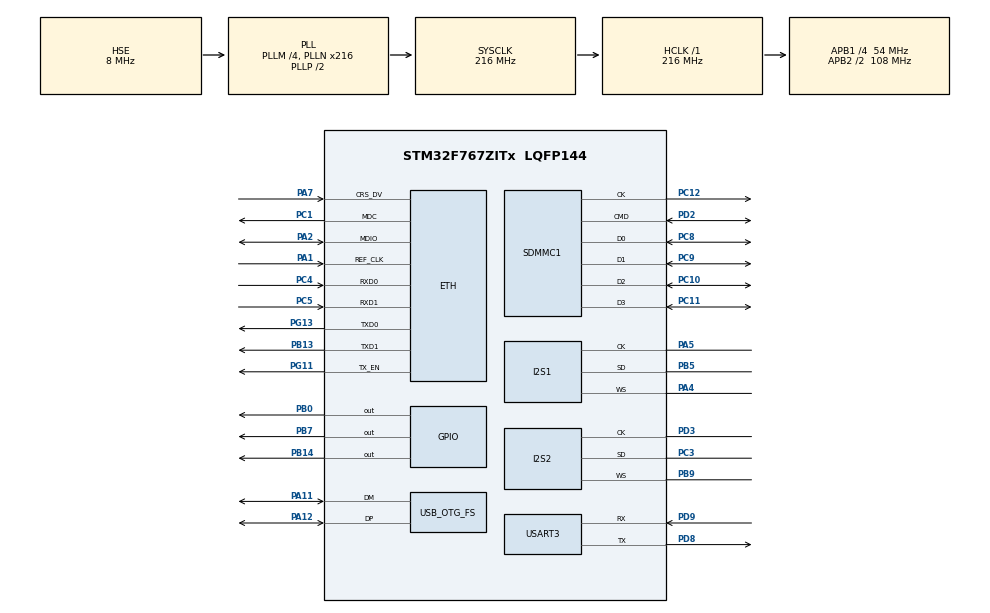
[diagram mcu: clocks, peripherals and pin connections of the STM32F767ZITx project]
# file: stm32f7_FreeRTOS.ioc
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CORTEX_M7.ART_ACCLERATOR_ENABLE=1
CORTEX_M7.AccessPermission-Cortex_Memory_Protection_Unit_Region0_Settings=MPU_REGION_FULL_ACCESS
CORTEX_M7.AccessPermission-Cortex_Memory_Protection_Unit_Region1_Settings=MPU_REGION_PRIV_RO_URO
CORTEX_M7.AccessPermission-Cortex_Memory_Protection_Unit_Region2_Settings=MPU_REGION_PRIV_RW
CORTEX_M7.AccessPermission-Cortex_Memory_Protection_Unit_Region4_Settings=MPU_REGION_PRIV_RW
CORTEX_M7.BaseAddress-Cortex_Memory_Protection_Unit_Region0_Settings=0x20000000
CORTEX_M7.BaseAddress-Cortex_Memory_Protection_Unit_Region2_Settings=0x40000000
CORTEX_M7.BaseAddress-Cortex_Memory_Protection_Unit_Region4_Settings=0x60000000
CORTEX_M7.CPU_DCache=Enabled
CORTEX_M7.CPU_ICache=Enabled
CORTEX_M7.DisableExec-Cortex_Memory_Protection_Unit_Region0_Settings=MPU_INSTRUCTION_ACCESS_DISABLE
CORTEX_M7.DisableExec-Cortex_Memory_Protection_Unit_Region2_Settings=MPU_INSTRUCTION_ACCESS_DISABLE
CORTEX_M7.DisableExec-Cortex_Memory_Protection_Unit_Region4_Settings=MPU_INSTRUCTION_ACCESS_DISABLE
CORTEX_M7.Enable-Cortex_Memory_Protection_Unit_Region0_Settings=MPU_REGION_ENABLE
CORTEX_M7.Enable-Cortex_Memory_Protection_Unit_Region1_Settings=MPU_REGION_ENABLE
CORTEX_M7.Enable-Cortex_Memory_Protection_Unit_Region2_Settings=MPU_REGION_ENABLE
CORTEX_M7.Enable-Cortex_Memory_Protection_Unit_Region4_Settings=MPU_REGION_ENABLE
CORTEX_M7.IsBufferable-Cortex_Memory_Protection_Unit_Region0_Settings=MPU_ACCESS_BUFFERABLE
CORTEX_M7.IsCacheable-Cortex_Memory_Protection_Unit_Region0_Settings=MPU_ACCESS_CACHEABLE
CORTEX_M7.IsCacheable-Cortex_Memory_Protection_Unit_Region1_Settings=MPU_ACCESS_CACHEABLE
CORTEX_M7.IsShareable-Cortex_Memory_Protection_Unit_Region0_Settings=MPU_ACCESS_SHAREABLE
CORTEX_M7.IsShareable-Cortex_Memory_Protection_Unit_Region1_Settings=MPU_ACCESS_SHAREABLE
CORTEX_M7.MPU_Control=MPU_PRIVILEGED_DEFAULT
CORTEX_M7.PREFETCH_ENABLE=1
CORTEX_M7.Size-Cortex_Memory_Protection_Unit_Region0_Settings=MPU_REGION_SIZE_512KB
CORTEX_M7.Size-Cortex_Memory_Protection_Unit_Region1_Settings=MPU_REGION_SIZE_512KB
CORTEX_M7.Size-Cortex_Memory_Protection_Unit_Region2_Settings=MPU_REGION_SIZE_512MB
CORTEX_M7.Size-Cortex_Memory_Protection_Unit_Region4_Settings=MPU_REGION_SIZE_2GB
CORTEX_M7.TypeExtField-Cortex_Memory_Protection_Unit_Region0_Settings=MPU_TEX_LEVEL2
ETH.MediaInterface=ETH_MEDIA_INTERFACE_RMII
ETH.PHY_Name_RMII=LAN8742A_PHY_ADDRESS
ETH.PhyAddress=0
ETH.RxMode=ETH_RXINTERRUPT_MODE
FATFS._FS_EXFAT=1
FATFS._FS_REENTRANT=1
FATFS._FS_RPATH=1
FATFS._LFN_UNICODE=1
FREERTOS.HEAP_NUMBER=3
FREERTOS.INCLUDE_xEventGroupSetBitFromISR=1
FREERTOS.INCLUDE_xTimerPendFunctionCall=1
FREERTOS.Tasks01=defaultTask,0,1024,StartDefaultTask,Default,NULL,Dynamic,NULL,NULL
FREERTOS.configMINIMAL_STACK_SIZE=1024
FREERTOS.configTOTAL_HEAP_SIZE=65536
FREERTOS.configUSE_IDLE_HOOK=1
FREERTOS.configUSE_TICK_HOOK=1
FREERTOS.configUSE_TIMERS=1
I2S1.AudioFreq=I2S_AUDIOFREQ_48K
I2S1.DataFormat=I2S_DATAFORMAT_24B
I2S1.ErrorAudioFreq=0.8 %
I2S1.FullDuplexMode=I2S_FULLDUPLEXMODE_DISABLE
I2S1.Instance=SPI$Index
I2S1.RealAudioFreq=48.387 KHz
I2S1.VirtualMode=I2S_MODE_SLAVE
I2S2.AudioFreq=I2S_AUDIOFREQ_48K
I2S2.ErrorAudioFreq=-0.79 %
I2S2.FullDuplexMode=I2S_FULLDUPLEXMODE_DISABLE
I2S2.Instance=SPI$Index
I2S2.RealAudioFreq=47.619 KHz
I2S2.VirtualMode=I2S_MODE_SLAVE
LWIP.DEFAULT_THREAD_STACKSIZE=4096
LWIP.IP_ADDRESS=192.168.100.010
LWIP.LWIP_DHCP=0
LWIP.NETMASK_ADDRESS=255.255.255.000
LWIP.NO_SYS=0
LWIP.Version=v2.0.3_Cube
Mcu.Family=STM32F7
Mcu.Name=STM32F767ZITx
Mcu.Package=LQFP144
NVIC.ETH_IRQn=true\:5\:0\:false\:false\:true\:true\:false
NVIC.OTG_FS_IRQn=true\:5\:0\:false\:false\:true\:true\:false
NVIC.PriorityGroup=NVIC_PRIORITYGROUP_4
NVIC.TIM1_UP_TIM10_IRQn=true\:0\:0\:false\:false\:true\:false\:false
NVIC.TimeBase=TIM1_UP_TIM10_IRQn
NVIC.TimeBaseIP=TIM1
NVIC.USART3_IRQn=true\:5\:0\:false\:false\:true\:true\:true
PA1.Mode=RMII
PA1.Signal=ETH_REF_CLK
PA11.Mode=Device_Only
PA11.Signal=USB_OTG_FS_DM
PA12.Mode=Device_Only
PA12.Signal=USB_OTG_FS_DP
PA13.Mode=Serial_Wire
PA13.Signal=SYS_JTMS-SWDIO
PA14.Mode=Serial_Wire
PA14.Signal=SYS_JTCK-SWCLK
PA2.Mode=RMII
PA2.Signal=ETH_MDIO
PA4.Mode=Half_Duplex_Slave
PA4.Signal=I2S1_WS
PA5.Mode=Half_Duplex_Slave
PA5.Signal=I2S1_CK
PA7.Mode=RMII
PA7.Signal=ETH_CRS_DV
PB0.Signal=GPIO_Output
PB13.Mode=RMII
PB13.Signal=ETH_TXD1
PB14.Signal=GPIO_Output
PB5.Mode=Half_Duplex_Slave
PB5.Signal=I2S1_SD
PB7.Signal=GPIO_Output
PB9.Mode=Half_Duplex_Slave
PB9.Signal=I2S2_WS
PC1.Mode=RMII
PC1.Signal=ETH_MDC
PC10.Mode=SD_4_bits_Wide_bus
PC10.Signal=SDMMC1_D2
PC11.Mode=SD_4_bits_Wide_bus
PC11.Signal=SDMMC1_D3
PC12.Mode=SD_4_bits_Wide_bus
PC12.Signal=SDMMC1_CK
PC3.Mode=Half_Duplex_Slave
PC3.Signal=I2S2_SD
PC4.Mode=RMII
PC4.Signal=ETH_RXD0
PC5.Mode=RMII
PC5.Signal=ETH_RXD1
PC8.Mode=SD_4_bits_Wide_bus
PC8.Signal=SDMMC1_D0
PC9.Mode=SD_4_bits_Wide_bus
PC9.Signal=SDMMC1_D1
PD2.Mode=SD_4_bits_Wide_bus
PD2.Signal=SDMMC1_CMD
PD3.Mode=Half_Duplex_Slave
PD3.Signal=I2S2_CK
PD8.Mode=Asynchronous
PD8.Signal=USART3_TX
PD9.Mode=Asynchronous
PD9.Signal=USART3_RX
PG11.Mode=RMII
PG11.Signal=ETH_TX_EN
PG13.Mode=RMII
PG13.Signal=ETH_TXD0
PH0/OSC_IN.Mode=HSE-External-Oscillator
PH0/OSC_IN.Signal=RCC_OSC_IN
PH1/OSC_OUT.Mode=HSE-External-Oscillator
PH1/OSC_OUT.Signal=RCC_OSC_OUT
ProjectManager.HeapSize=0x200
ProjectManager.StackSize=0x400
ProjectManager.TargetToolchain=TrueSTUDIO
RCC.AHBFreq_Value=216000000
RCC.APB1CLKDivider=RCC_HCLK_DIV4
RCC.APB1Freq_Value=54000000
RCC.APB1TimFreq_Value=108000000
RCC.APB2CLKDivider=RCC_HCLK_DIV2
RCC.APB2Freq_Value=108000000
RCC.APB2TimFreq_Value=216000000
RCC.CortexFreq_Value=216000000
RCC.HCLKFreq_Value=216000000
RCC.HSE_VALUE=8000000
RCC.HSI_VALUE=16000000
RCC.LSE_VALUE=32768
RCC.PLL48CLockSelection=RCC_CLK48SOURCE_PLLSAIP
RCC.PLLI2SR=4
RCC.PLLM=4
RCC.PLLN=216
RCC.PLLQ=8
RCC.PLLSAIP=RCC_PLLSAIP_DIV8
RCC.SDMMCClockSelection=RCC_SDMMC1CLKSOURCE_CLK48
RCC.SYSCLKFreq_VALUE=216000000
RCC.SYSCLKSource=RCC_SYSCLKSOURCE_PLLCLK
RCC.USBFreq_Value=48000000
RCC.VCOOutputFreq_Value=432000000
USART3.VirtualMode-Asynchronous=VM_ASYNC
USART3.WordLength=WORDLENGTH_8B
USB_DEVICE.CLASS_NAME_FS=DFU
USB_DEVICE.USBD_SUPPORT_USER_STRING-DFU_FS=1
USB_DEVICE.VirtualMode-DFU_FS=Dfu
USB_DEVICE.VirtualModeFS=Dfu_FS
USB_OTG_FS.VirtualMode=Device_Only
USB_OTG_FS.ep0_mps=DEP0CTL_MPS_64
USB_OTG_FS.vbus_sensing_enable=DISABLE
VP_CRC_VS_CRC.Mode=CRC_Activate
VP_FATFS_VS_Generic.Mode=User_defined
VP_FATFS_VS_SDIO.Mode=SDIO
VP_FREERTOS_VS_ENABLE.Mode=Enabled
VP_LWIP_VS_Enabled.Mode=Enabled
VP_RTC_VS_RTC_Activate.Mode=RTC_Enabled
VP_SYS_VS_tim1.Mode=TIM1
VP_USB_DEVICE_VS_USB_DEVICE_DFU_FS.Mode=DFU_FS
board=stm32f7_FreeRTOS

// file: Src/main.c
/**
  ******************************************************************************
  * @file           : main.c
  * @brief          : Main program body
  ******************************************************************************
  * This notice applies to any and all portions of this file
  * that are not between comment pairs USER CODE BEGIN and
  * USER CODE END. Other portions of this file, whether
  * inserted by the user or by software development tools
  * are owned by their respective copyright owners.
  *
  * Copyright (c) 2018 STMicroelectronics International N.V.
  * All rights reserved.
  *
  * Redistribution and use in source and binary forms, with or without
  * modification, are permitted, provided that the following conditions are met:
  *
  * 1. Redistribution of source code must retain the above copyright notice,
  *    this list of conditions and the following disclaimer.
  * 2. Redistributions in binary form must reproduce the above copyright notice,
  *    this list of conditions and the following disclaimer in the documentation
  *    and/or other materials provided with the distribution.
  * 3. Neither the name of STMicroelectronics nor the names of other
  *    contributors to this software may be used to endorse or promote products
  *    derived from this software without specific written permission.
  * 4. This software, including modifications and/or derivative works of this
  *    software, must execute solely and exclusively on microcontroller or
  *    microprocessor devices manufactured by or for STMicroelectronics.
  * 5. Redistribution and use of this software other than as permitted under
  *    this license is void and will automatically terminate your rights under
  *    this license.
  *
  * THIS SOFTWARE IS PROVIDED BY STMICROELECTRONICS AND CONTRIBUTORS "AS IS"
  * AND ANY EXPRESS, IMPLIED OR STATUTORY WARRANTIES, INCLUDING, BUT NOT
  * LIMITED TO, THE IMPLIED WARRANTIES OF MERCHANTABILITY, FITNESS FOR A
  * PARTICULAR PURPOSE AND NON-INFRINGEMENT OF THIRD PARTY INTELLECTUAL PROPERTY
  * RIGHTS ARE DISCLAIMED TO THE FULLEST EXTENT PERMITTED BY LAW. IN NO EVENT
  * SHALL STMICROELECTRONICS OR CONTRIBUTORS BE LIABLE FOR ANY DIRECT, INDIRECT,
  * INCIDENTAL, SPECIAL, EXEMPLARY, OR CONSEQUENTIAL DAMAGES (INCLUDING, BUT NOT
  * LIMITED TO, PROCUREMENT OF SUBSTITUTE GOODS OR SERVICES; LOSS OF USE, DATA,
  * OR PROFITS; OR BUSINESS INTERRUPTION) HOWEVER CAUSED AND ON ANY THEORY OF
  * LIABILITY, WHETHER IN CONTRACT, STRICT LIABILITY, OR TORT (INCLUDING
  * NEGLIGENCE OR OTHERWISE) ARISING IN ANY WAY OUT OF THE USE OF THIS SOFTWARE,
  * EVEN IF ADVISED OF THE POSSIBILITY OF SUCH DAMAGE.
  *
  ******************************************************************************
  */
#include "main.h"
#include "stm32f7xx_hal.h"
#include "cmsis_os.h"
#include "crc.h"
#include "fatfs.h"
#include "i2s.h"
#include "lwip.h"
#include "rtc.h"
#include "sdmmc.h"
#include "usart.h"
#include "usb_device.h"
#include "gpio.h"

/* USER CODE BEGIN PV */
/* Private variables ---------------------------------------------------------*/

/* USER CODE END PV */

void SystemClock_Config(void);
static void MPU_Config(void);
void MX_FREERTOS_Init(void);

/* USER CODE BEGIN PFP */
/* Private function prototypes -----------------------------------------------*/

/* USER CODE END PFP */

int main(void)
{

	/* MPU Configuration----------------------------------------------------------*/
	//MPU_Config();

	/* Enable I-Cache-------------------------------------------------------------*/
	SCB_EnableICache();

	/* Enable D-Cache-------------------------------------------------------------*/
	SCB_EnableDCache();

	/* MCU Configuration----------------------------------------------------------*/

	/* Reset of all peripherals, Initializes the Flash interface and the Systick. */
	HAL_Init();

	/* Configure the system clock */
	SystemClock_Config();

	/* USER CODE BEGIN SysInit */
	SystemCoreClockUpdate();
	/* USER CODE END SysInit */

	/* Initialize all configured peripherals */
	MX_GPIO_Init();
	MX_RTC_Init();
	MX_CRC_Init();
	MX_SDMMC1_SD_Init();
	MX_I2S1_Init();
	MX_I2S2_Init();
	MX_USART3_UART_Init();

	/* Call init function for freertos objects (in freertos.c) */
	MX_FREERTOS_Init();

	/* Start scheduler */
	osKernelStart();

	/* We should never get here as control is now taken by the scheduler */

	/* Infinite loop */
	while (1)
	{

	}
}

void SystemClock_Config(void)
{

	RCC_OscInitTypeDef RCC_OscInitStruct;
	RCC_ClkInitTypeDef RCC_ClkInitStruct;
	RCC_PeriphCLKInitTypeDef PeriphClkInitStruct;

	/**Configure the main internal regulator output voltage
    */
	__HAL_RCC_PWR_CLK_ENABLE();

	__HAL_PWR_VOLTAGESCALING_CONFIG(PWR_REGULATOR_VOLTAGE_SCALE1);

	/**Initializes the CPU, AHB and APB busses clocks
    */
	RCC_OscInitStruct.OscillatorType = RCC_OSCILLATORTYPE_LSI | RCC_OSCILLATORTYPE_HSE;
	RCC_OscInitStruct.HSEState = RCC_HSE_ON;
	RCC_OscInitStruct.LSIState = RCC_LSI_ON;
	RCC_OscInitStruct.PLL.PLLState = RCC_PLL_ON;
	RCC_OscInitStruct.PLL.PLLSource = RCC_PLLSOURCE_HSE;
	RCC_OscInitStruct.PLL.PLLM = 4;
	RCC_OscInitStruct.PLL.PLLN = 216;
	RCC_OscInitStruct.PLL.PLLP = RCC_PLLP_DIV2;
	RCC_OscInitStruct.PLL.PLLQ = 4;
	if (HAL_RCC_OscConfig(&RCC_OscInitStruct) != HAL_OK)
	{
		_Error_Handler(__FILE__, __LINE__);
	}

	/**Activate the Over-Drive mode
    */
	if (HAL_PWREx_EnableOverDrive() != HAL_OK)
	{
		_Error_Handler(__FILE__, __LINE__);
	}

	/**Initializes the CPU, AHB and APB busses clocks
    */
	RCC_ClkInitStruct.ClockType = RCC_CLOCKTYPE_HCLK | RCC_CLOCKTYPE_SYSCLK | RCC_CLOCKTYPE_PCLK1 | RCC_CLOCKTYPE_PCLK2;
	RCC_ClkInitStruct.SYSCLKSource = RCC_SYSCLKSOURCE_PLLCLK;
	RCC_ClkInitStruct.AHBCLKDivider = RCC_SYSCLK_DIV1;
	RCC_ClkInitStruct.APB1CLKDivider = RCC_HCLK_DIV4;
	RCC_ClkInitStruct.APB2CLKDivider = RCC_HCLK_DIV2;

	if (HAL_RCC_ClockConfig(&RCC_ClkInitStruct, FLASH_LATENCY_7) != HAL_OK)
	{
		_Error_Handler(__FILE__, __LINE__);
	}

	PeriphClkInitStruct.PeriphClockSelection = RCC_PERIPHCLK_TIM | RCC_PERIPHCLK_RTC | RCC_PERIPHCLK_USART3 | RCC_PERIPHCLK_SDMMC1 | RCC_PERIPHCLK_I2S | RCC_PERIPHCLK_CLK48;
	PeriphClkInitStruct.PLLI2S.PLLI2SN = 192;
	PeriphClkInitStruct.PLLI2S.PLLI2SP = RCC_PLLP_DIV2;
	PeriphClkInitStruct.PLLI2S.PLLI2SR = 2;
	PeriphClkInitStruct.PLLI2S.PLLI2SQ = 2;
	PeriphClkInitStruct.PLLSAI.PLLSAIN = 96;
	PeriphClkInitStruct.PLLSAI.PLLSAIR = 2;
	PeriphClkInitStruct.PLLSAI.PLLSAIQ = 3;
	PeriphClkInitStruct.PLLSAI.PLLSAIP = RCC_PLLSAIP_DIV4;
	PeriphClkInitStruct.PLLI2SDivQ = 1;
	PeriphClkInitStruct.PLLSAIDivQ = 1;
	PeriphClkInitStruct.PLLSAIDivR = RCC_PLLSAIDIVR_2;
	PeriphClkInitStruct.RTCClockSelection = RCC_RTCCLKSOURCE_LSI;
	PeriphClkInitStruct.I2sClockSelection = RCC_I2SCLKSOURCE_PLLI2S;
	PeriphClkInitStruct.Usart3ClockSelection = RCC_USART3CLKSOURCE_PCLK1;
	PeriphClkInitStruct.Clk48ClockSelection = RCC_CLK48SOURCE_PLLSAIP;
	PeriphClkInitStruct.Sdmmc1ClockSelection = RCC_SDMMC1CLKSOURCE_CLK48;
	PeriphClkInitStruct.TIMPresSelection = RCC_TIMPRES_ACTIVATED;

	if (HAL_RCCEx_PeriphCLKConfig(&PeriphClkInitStruct) != HAL_OK)
	{
		_Error_Handler(__FILE__, __LINE__);
	}

}

/* MPU Configuration */

void MPU_Config(void)
{
	MPU_Region_InitTypeDef MPU_InitStruct;

	/* Disables the MPU */
	HAL_MPU_Disable();

	/**Initializes and configures the Region and the memory to be protected
    */
	MPU_InitStruct.Enable = MPU_REGION_ENABLE;
	MPU_InitStruct.Number = MPU_REGION_NUMBER0;
	MPU_InitStruct.BaseAddress = 0x00000000;
	MPU_InitStruct.Size = MPU_REGION_SIZE_4GB;
	MPU_InitStruct.SubRegionDisable = 0x0;
	MPU_InitStruct.TypeExtField = MPU_TEX_LEVEL0;
	MPU_InitStruct.AccessPermission = MPU_REGION_FULL_ACCESS;
	MPU_InitStruct.DisableExec = MPU_INSTRUCTION_ACCESS_DISABLE;
	MPU_InitStruct.IsShareable = MPU_ACCESS_NOT_SHAREABLE;
	MPU_InitStruct.IsCacheable = MPU_ACCESS_NOT_CACHEABLE;
	MPU_InitStruct.IsBufferable = MPU_ACCESS_NOT_BUFFERABLE;

	HAL_MPU_ConfigRegion(&MPU_InitStruct);

#if 1
	/** SRAM REGION
    */
	MPU_InitStruct.Enable = MPU_REGION_ENABLE;
	MPU_InitStruct.Number = MPU_REGION_NUMBER1;
	MPU_InitStruct.BaseAddress = 0x20000000;
	MPU_InitStruct.Size = MPU_REGION_SIZE_512MB;
	MPU_InitStruct.SubRegionDisable = 0x0;
	MPU_InitStruct.TypeExtField = MPU_TEX_LEVEL0;
	MPU_InitStruct.AccessPermission = MPU_REGION_FULL_ACCESS;
	MPU_InitStruct.DisableExec = MPU_INSTRUCTION_ACCESS_DISABLE;
	MPU_InitStruct.IsShareable = MPU_ACCESS_SHAREABLE;
	MPU_InitStruct.IsCacheable = MPU_ACCESS_CACHEABLE;
	MPU_InitStruct.IsBufferable = MPU_ACCESS_BUFFERABLE;

	HAL_MPU_ConfigRegion(&MPU_InitStruct);

	/** ROM REGION
    */
	MPU_InitStruct.Enable = MPU_REGION_ENABLE;
	MPU_InitStruct.Number = MPU_REGION_NUMBER2;
	MPU_InitStruct.BaseAddress = 0x0;
	MPU_InitStruct.Size = MPU_REGION_SIZE_512MB;
	MPU_InitStruct.SubRegionDisable = 0x0;
	MPU_InitStruct.TypeExtField = MPU_TEX_LEVEL0;
	MPU_InitStruct.AccessPermission = MPU_REGION_PRIV_RO_URO;
	MPU_InitStruct.DisableExec = MPU_INSTRUCTION_ACCESS_ENABLE;
	MPU_InitStruct.IsShareable = MPU_ACCESS_SHAREABLE;
	MPU_InitStruct.IsCacheable = MPU_ACCESS_NOT_CACHEABLE;
	MPU_InitStruct.IsBufferable = MPU_ACCESS_NOT_BUFFERABLE;

	HAL_MPU_ConfigRegion(&MPU_InitStruct);

	/**
    */
	MPU_InitStruct.Enable = MPU_REGION_ENABLE;
	MPU_InitStruct.Number = MPU_REGION_NUMBER3;
	MPU_InitStruct.BaseAddress = 0x40000000;
	MPU_InitStruct.Size = MPU_REGION_SIZE_512MB;
	MPU_InitStruct.SubRegionDisable = 0x0;
	MPU_InitStruct.TypeExtField = MPU_TEX_LEVEL0;
	MPU_InitStruct.AccessPermission = MPU_REGION_PRIV_RW;
	MPU_InitStruct.DisableExec = MPU_INSTRUCTION_ACCESS_DISABLE;
	MPU_InitStruct.IsShareable = MPU_ACCESS_SHAREABLE;
	MPU_InitStruct.IsCacheable = MPU_ACCESS_CACHEABLE;
	MPU_InitStruct.IsBufferable = MPU_ACCESS_NOT_BUFFERABLE;

	HAL_MPU_ConfigRegion(&MPU_InitStruct);

	/**Initializes and configures the Region and the memory to be protected
    */
	MPU_InitStruct.Enable = MPU_REGION_ENABLE;
	MPU_InitStruct.Number = MPU_REGION_NUMBER4;
	MPU_InitStruct.BaseAddress = 0x60000000;
	MPU_InitStruct.Size = MPU_REGION_SIZE_512MB;
	MPU_InitStruct.SubRegionDisable = 0x0;
	MPU_InitStruct.TypeExtField = MPU_TEX_LEVEL0;
	MPU_InitStruct.AccessPermission = MPU_REGION_PRIV_RW;
	MPU_InitStruct.DisableExec = MPU_INSTRUCTION_ACCESS_DISABLE;
	MPU_InitStruct.IsShareable = MPU_ACCESS_SHAREABLE;
	MPU_InitStruct.IsCacheable = MPU_ACCESS_CACHEABLE;
	MPU_InitStruct.IsBufferable = MPU_ACCESS_NOT_BUFFERABLE;

	HAL_MPU_ConfigRegion(&MPU_InitStruct);

	// Cortex-M7
	MPU_InitStruct.Enable = MPU_REGION_ENABLE;
	MPU_InitStruct.Number = MPU_REGION_NUMBER5;
	MPU_InitStruct.BaseAddress = 0xE0000000;
	MPU_InitStruct.Size = MPU_REGION_SIZE_512MB;
	MPU_InitStruct.SubRegionDisable = 0x0;
	MPU_InitStruct.TypeExtField = MPU_TEX_LEVEL0;
	MPU_InitStruct.AccessPermission = MPU_REGION_PRIV_RW;
	MPU_InitStruct.DisableExec = MPU_INSTRUCTION_ACCESS_DISABLE;
	MPU_InitStruct.IsShareable = MPU_ACCESS_SHAREABLE;
	MPU_InitStruct.IsCacheable = MPU_ACCESS_CACHEABLE;
	MPU_InitStruct.IsBufferable = MPU_ACCESS_NOT_BUFFERABLE;

	HAL_MPU_ConfigRegion(&MPU_InitStruct);
#endif
	/* Enables the MPU */
	HAL_MPU_Enable(MPU_PRIVILEGED_DEFAULT);
}
void HAL_TIM_PeriodElapsedCallback(TIM_HandleTypeDef *htim)
{
	if (htim->Instance == TIM1)
	{
		HAL_IncTick();
	}
}

void _Error_Handler(char *file, int line)
{
	while (1)
	{
	}
}

/************************ (C) COPYRIGHT STMicroelectronics *****END OF FILE****/

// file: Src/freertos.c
/**
  ******************************************************************************
  * File Name          : freertos.c
  * Description        : Code for freertos applications
  ******************************************************************************
  * This notice applies to any and all portions of this file
  * that are not between comment pairs USER CODE BEGIN and
  * USER CODE END. Other portions of this file, whether
  * inserted by the user or by software development tools
  * are owned by their respective copyright owners.
  *
  * Copyright (c) 2018 STMicroelectronics International N.V.
  * All rights reserved.
  *
  * Redistribution and use in source and binary forms, with or without
  * modification, are permitted, provided that the following conditions are met:
  *
  * 1. Redistribution of source code must retain the above copyright notice,
  *    this list of conditions and the following disclaimer.
  * 2. Redistributions in binary form must reproduce the above copyright notice,
  *    this list of conditions and the following disclaimer in the documentation
  *    and/or other materials provided with the distribution.
  * 3. Neither the name of STMicroelectronics nor the names of other
  *    contributors to this software may be used to endorse or promote products
  *    derived from this software without specific written permission.
  * 4. This software, including modifications and/or derivative works of this
  *    software, must execute solely and exclusively on microcontroller or
  *    microprocessor devices manufactured by or for STMicroelectronics.
  * 5. Redistribution and use of this software other than as permitted under
  *    this license is void and will automatically terminate your rights under
  *    this license.
  *
  * THIS SOFTWARE IS PROVIDED BY STMICROELECTRONICS AND CONTRIBUTORS "AS IS"
  * AND ANY EXPRESS, IMPLIED OR STATUTORY WARRANTIES, INCLUDING, BUT NOT
  * LIMITED TO, THE IMPLIED WARRANTIES OF MERCHANTABILITY, FITNESS FOR A
  * PARTICULAR PURPOSE AND NON-INFRINGEMENT OF THIRD PARTY INTELLECTUAL PROPERTY
  * RIGHTS ARE DISCLAIMED TO THE FULLEST EXTENT PERMITTED BY LAW. IN NO EVENT
  * SHALL STMICROELECTRONICS OR CONTRIBUTORS BE LIABLE FOR ANY DIRECT, INDIRECT,
  * INCIDENTAL, SPECIAL, EXEMPLARY, OR CONSEQUENTIAL DAMAGES (INCLUDING, BUT NOT
  * LIMITED TO, PROCUREMENT OF SUBSTITUTE GOODS OR SERVICES; LOSS OF USE, DATA,
  * OR PROFITS; OR BUSINESS INTERRUPTION) HOWEVER CAUSED AND ON ANY THEORY OF
  * LIABILITY, WHETHER IN CONTRACT, STRICT LIABILITY, OR TORT (INCLUDING
  * NEGLIGENCE OR OTHERWISE) ARISING IN ANY WAY OUT OF THE USE OF THIS SOFTWARE,
  * EVEN IF ADVISED OF THE POSSIBILITY OF SUCH DAMAGE.
  *
  ******************************************************************************
  */

#include "FreeRTOS.h"
#include "task.h"
#include "cmsis_os.h"

/* USER CODE BEGIN Includes */
#include <stdio.h>
#include <stdlib.h>
#include <string.h>
#include "usart.h"
#include "TaskConsole.h"
#include "CPUFunc.h"
#include <stdint.h>
#include <stdbool.h>
#include "FreeRTOSConfig.h"
#include <stdatomic.h>
/* USER CODE END Includes */

osThreadId defaultTaskHandle;

/* USER CODE BEGIN Variables */
typedef enum
{
	enLED0,
	enLED1,
	enLED2,
	enLED_MAX,
} enLedNo_t;

GPIO_TypeDef *LEDPort = GPIOB;

const uint16_t u16LEDPin[enLED_MAX] = {
	GPIO_PIN_0,
	GPIO_PIN_7,
	GPIO_PIN_14,
};
const uint32_t u32LEDBlinkTime[enLED_MAX] = {
	250u,
	500u,
	1000u};
osThreadId LEDTaskHandle[enLED_MAX];
/* USER CODE END Variables */

void StartDefaultTask(void const *argument);

extern void MX_USB_DEVICE_Init(void);
extern void MX_FATFS_Init(void);
extern void MX_LWIP_Init(void);
void MX_FREERTOS_Init(void); /* (MISRA C 2004 rule 8.1) */

/* USER CODE BEGIN FunctionPrototypes */
void LEDTask(void const *argument);
/* USER CODE END FunctionPrototypes */

/* Hook prototypes */
void vApplicationIdleHook(void);
void vApplicationTickHook(void);
void GetRunCount(uint32_t *p32Last, uint32_t *pu32Max);

static uint32_t s_u32CurrentRun = 0u;
static uint32_t s_u32LastRun = 0u;
static uint32_t s_u32RunMax = 0u;

/* USER CODE BEGIN 2 */
extern _Atomic uint32_t g_u32Atomic;
extern uint32_t g_u32NoAtomic;
void vApplicationStackOverflowHook( TaskHandle_t xTask,
                                    signed char *pcTaskName ){
	bsp_printf("[%s (%d)] Stack Over Flow!!!\r\n", __FUNCTION__, __LINE__);
	while(1);
}

__weak void vApplicationIdleHook(void)
{
	/* vApplicationIdleHook() will only be called if configUSE_IDLE_HOOK is set
   to 1 in FreeRTOSConfig.h. It will be called on each iteration of the idle
   task. It is essential that code added to this hook function never attempts
   to block in any way (for example, call xQueueReceive() with a block time
   specified, or call vTaskDelay()). If the application makes use of the
   vTaskDelete() API function (as this demo application does) then it is also
   important that vApplicationIdleHook() is permitted to return to its calling
   function, because it is the responsibility of the idle task to clean up
   memory allocated by the kernel to any task that has since been deleted. */
	#if 1
	uint32_t primask = DisableIRQ();

	s_u32CurrentRun++;
	SetIRQ(primask);
	atomic_fetch_add(&g_u32Atomic, 1);
	g_u32NoAtomic++;
	#endif
}
/* USER CODE END 2 */

/* USER CODE BEGIN 3 */

_Bool g_bInitEnd = false;
__weak void vApplicationTickHook(void)
{
	/* This function will be called by each tick interrupt if
   configUSE_TICK_HOOK is set to 1 in FreeRTOSConfig.h. User code can be
   added here, but the tick hook is called from an interrupt context, so
   code must not attempt to block, and only the interrupt safe FreeRTOS API
   functions can be used (those that end in FromISR()). */
#if 1
	static uint32_t cnt = 0u;
	if(g_bInitEnd != false){
		atomic_fetch_add(&g_u32Atomic, 1);
		g_u32NoAtomic++;
		if (cnt >= 1000u)
		{
			cnt = 0u;
			uint32_t primask = DisableIRQ();

			s_u32LastRun = s_u32CurrentRun;
			s_u32CurrentRun = 0u;
			if (s_u32LastRun > s_u32RunMax)
			{
				s_u32RunMax = s_u32LastRun;
			}
			SetIRQ(primask);
		}else{
			cnt++;
		}
	}else{
		s_u32CurrentRun = 0u;
	}
#endif
}

void GetRunCount(uint32_t *p32Last, uint32_t *pu32Max)
{
	if ((p32Last != NULL) && (pu32Max != NULL))
	{
		uint32_t primask = DisableIRQ();
		*p32Last = s_u32LastRun;
		*pu32Max = s_u32RunMax;
		SetIRQ(primask);
	}
}

/* USER CODE END 3 */

/* Init FreeRTOS */

void MX_FREERTOS_Init(void)
{

	/* Create the thread(s) */
	/* definition and creation of defaultTask */
	osThreadDef(defaultTask, StartDefaultTask, osPriorityNormal, 0, 1024);
	defaultTaskHandle = osThreadCreate(osThread(defaultTask), NULL);

}

/* USER CODE BEGIN 4 */
typedef struct{
	osThreadId    *pOsId;
	osThreadDef_t OsDef;
	void          *argment;
}stOSdefTable_t;

StaticTask_t LEDTaskTCB[enLED_MAX];
uint32_t LEDTaskStack[enLED_MAX][1024/sizeof(uint32_t)];

static const stOSdefTable_t g_stOSTable[] = {
	{
		&ConsoleTaskHandle,
		{"ConsoleTask", ConsoleTask, osPriorityBelowNormal, 1, 8192, ConsoleTaskStack, &ConsoleTaskTCB},
		0,
	},
	{
		&LEDTaskHandle[enLED0],
		{"LEDTask0", LEDTask, osPriorityLow, 1, 1024, LEDTaskStack[enLED0], &LEDTaskTCB[enLED0]},
		(void *)enLED0,
	},
	{
		&LEDTaskHandle[enLED1],
		{"LEDTask1", LEDTask, osPriorityLow, 1, 1024, LEDTaskStack[enLED1], &LEDTaskTCB[enLED1]},
		(void *)enLED1,
	},
	{
		&LEDTaskHandle[enLED2],
		{"LEDTask2", LEDTask, osPriorityLow, 1, 1024, LEDTaskStack[enLED2], &LEDTaskTCB[enLED2]},
		(void *)enLED2,
	},
	// Terminate
	{
		NULL,
		{0},
		0,
	},
};
#if (configSUPPORT_STATIC_ALLOCATION == 1)
/* configSUPPORT_STATIC_ALLOCATION is set to 1, so the application must provide an
implementation of vApplicationGetIdleTaskMemory() to provide the memory that is
used by the Idle task. */
void vApplicationGetIdleTaskMemory( StaticTask_t **ppxIdleTaskTCBBuffer,
                                    StackType_t **ppxIdleTaskStackBuffer,
                                    uint32_t *pulIdleTaskStackSize )
{
/* If the buffers to be provided to the Idle task are declared inside this
function then they must be declared static - otherwise they will be allocated on
the stack and so not exists after this function exits. */
	static StaticTask_t xIdleTaskTCB;
	static StackType_t uxIdleTaskStack[ configMINIMAL_STACK_SIZE ];

    /* Pass out a pointer to the StaticTask_t structure in which the Idle task's
    state will be stored. */
    *ppxIdleTaskTCBBuffer = &xIdleTaskTCB;

    /* Pass out the array that will be used as the Idle task's stack. */
    *ppxIdleTaskStackBuffer = uxIdleTaskStack;

    /* Pass out the size of the array pointed to by *ppxIdleTaskStackBuffer.
    Note that, as the array is necessarily of type StackType_t,
    configMINIMAL_STACK_SIZE is specified in words, not bytes. */
    *pulIdleTaskStackSize = configMINIMAL_STACK_SIZE;
}
/* configSUPPORT_STATIC_ALLOCATION and configUSE_TIMERS are both set to 1, so the
application must provide an implementation of vApplicationGetTimerTaskMemory()
to provide the memory that is used by the Timer service task. */
void vApplicationGetTimerTaskMemory( StaticTask_t **ppxTimerTaskTCBBuffer,
                                     StackType_t **ppxTimerTaskStackBuffer,
                                     uint32_t *pulTimerTaskStackSize )
{
/* If the buffers to be provided to the Timer task are declared inside this
function then they must be declared static - otherwise they will be allocated on
the stack and so not exists after this function exits. */
static StaticTask_t xTimerTaskTCB;
static StackType_t uxTimerTaskStack[ configTIMER_TASK_STACK_DEPTH ];

    /* Pass out a pointer to the StaticTask_t structure in which the Timer
    task's state will be stored. */
    *ppxTimerTaskTCBBuffer = &xTimerTaskTCB;

    /* Pass out the array that will be used as the Timer task's stack. */
    *ppxTimerTaskStackBuffer = uxTimerTaskStack;

    /* Pass out the size of the array pointed to by *ppxTimerTaskStackBuffer.
    Note that, as the array is necessarily of type StackType_t,
    configTIMER_TASK_STACK_DEPTH is specified in words, not bytes. */
    *pulTimerTaskStackSize = configTIMER_TASK_STACK_DEPTH;
}
#endif

/* USER CODE END 4 */
/* StartDefaultTask function */
void StartDefaultTask(void const *argument)
{

	/* init code for USB_DEVICE */
	//MX_USB_DEVICE_Init();

	/* init code for FATFS */
	//MX_FATFS_Init();

	/* init code for LWIP */
	MX_LWIP_Init();

	/* USER CODE BEGIN StartDefaultTask */
	{
		uint32_t i=0;

		while(g_stOSTable[i].pOsId != NULL){
			*g_stOSTable[i].pOsId = osThreadCreate(&g_stOSTable[i].OsDef, g_stOSTable[i].argment);
			i++;
		}
		vTaskDelay(1000u);
		g_bInitEnd = true;
		osThreadSuspend(osThreadGetId());
	}
	/* USER CODE END StartDefaultTask */
}

/* USER CODE BEGIN Application */
void LEDTask(void const *argument)
{
	if ((uint32_t)argument >= (uint32_t)enLED_MAX)
	{
		osThreadSuspend(osThreadGetId());
	}

	/* Infinite loop */
	for (;;)
	{
		//printf("[%s (%d)] LED%luTask (%lu msec)\r\n", __FUNCTION__, __LINE__, (uint32_t)argument, xTaskGetTickCount());
		HAL_GPIO_TogglePin(LEDPort, u16LEDPin[(uint32_t)argument]);
		vTaskDelay(u32LEDBlinkTime[(uint32_t)argument]);
	}
}
/* USER CODE END Application */

/************************ (C) COPYRIGHT STMicroelectronics *****END OF FILE****/
